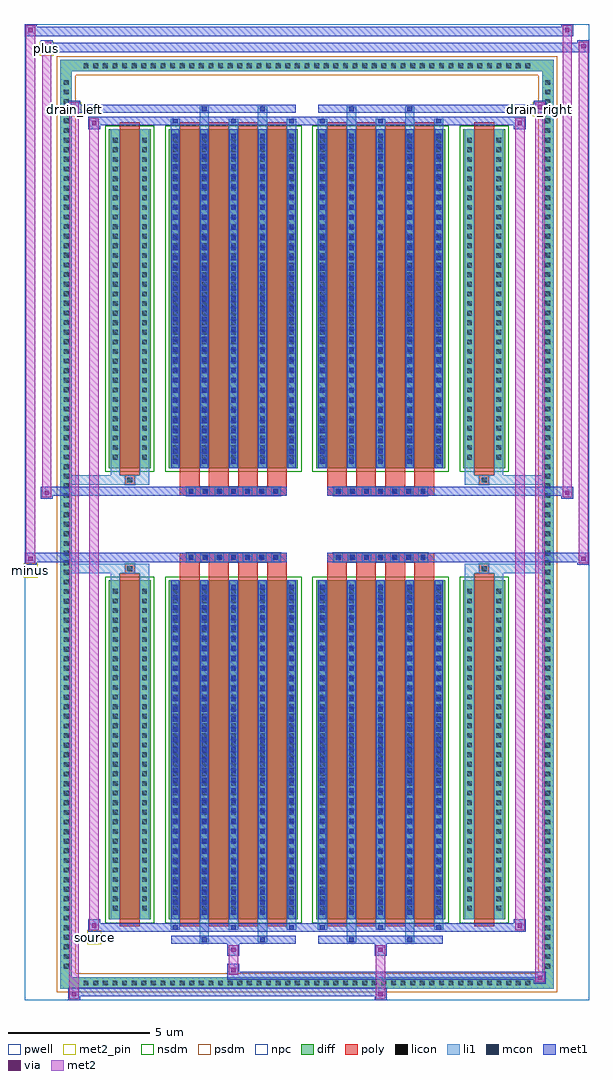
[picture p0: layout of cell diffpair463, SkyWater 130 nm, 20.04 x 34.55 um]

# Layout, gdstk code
import gdstk
lib = gdstk.Library(unit=1e-6, precision=5e-09)
def R(c, l, rs):  # rectangles x0, y0, x1, y1
    for r in rs: c.add(gdstk.rectangle(r[:2], r[2:], *l))
def A(c, l, x, y, w, h, nx, ny, dx, dy):  # array of equal rectangles
    R(c, l, [(x+i*dx, y+j*dy, x+i*dx+w, y+j*dy+h) for i in range(nx) for j in range(ny)])
def P(c, l, *ps):  # polygons
    for p in ps: c.add(gdstk.Polygon(p, *l))
pwell = (64, 44)
diff = (65, 20)
poly = (66, 20)
licon = (66, 44)
li1 = (67, 20)
mcon = (67, 44)
met1 = (68, 20)
via = (68, 44)
met2_pin = (69, 16)
met2 = (69, 20)
nsdm = (93, 44)
psdm = (94, 20)
npc = (95, 20)

diffpair463 = lib.new_cell('diffpair463')
R(diffpair463, pwell, [(-10,-16.84,10,17.71), (-7.32,-15.03,-0.01,-0.805), (0.01,-15.03,7.32,-0.805), (-7.32,0.805,-0.01,15.03), (0.01,0.805,7.32,15.03)])
A(diffpair463, diff, -8.025, -16.44, 0.41, 0.41, 47, 2, 0.34, 32.47)
A(diffpair463, diff, -8.73, -15.845, 0.41, 0.41, 1, 93, 0, 0.34)
A(diffpair463, diff, 8.32, -15.845, 0.41, 0.41, 1, 93, 0, 0.34)
R(diffpair463, diff, [(-8.025,-16.44,8.025,-16.03), (-8.73,-15.845,-8.32,15.845), (8.32,-15.845,8.73,15.845), (-7.01,-13.985,-5.53,-1.985), (-4.89,-13.985,-0.32,-1.985), (0.32,-13.985,4.89,-1.985), (5.53,-13.985,7.01,-1.985), (-7.01,1.985,-5.53,13.985), (-4.89,1.985,-0.32,13.985), (0.32,1.985,4.89,13.985), (5.53,1.985,7.01,13.985), (-8.025,16.03,8.025,16.44)])
P(diffpair463, diff, [(8.73,16.44),(-8.73,16.44),(-8.73,-16.03),(-8.32,-16.03),(-8.32,16.03),(8.32,16.03),(8.32,-16.03),(-8.32,-16.03),(-8.73,-16.03),(-8.73,-16.44),(8.73,-16.44)])
A(diffpair463, poly, -4.5, -14.235, 0.7, 12.5, 4, 2, 1.03, 15.97)
A(diffpair463, poly, 0.71, -14.235, 0.7, 12.5, 4, 2, 1.03, 15.97)
A(diffpair463, poly, -4.5, -1.735, 0.7, 0.4, 4, 2, 1.03, 3.07)
A(diffpair463, poly, 0.71, -1.735, 0.7, 0.4, 4, 2, 1.03, 3.07)
A(diffpair463, poly, -4.27, -1.335, 0.33, 0.33, 7, 2, 0.5, 2.34)
A(diffpair463, poly, 0.94, -1.335, 0.33, 0.33, 7, 2, 0.5, 2.34)
R(diffpair463, poly, [(-6.62,-14.235,-5.92,-1.735), (5.92,-14.235,6.62,-1.735), (-6.435,-1.735,-6.105,-1.405), (-6.435,-1.735,-6.105,-1.405), (6.105,-1.735,6.435,-1.405), (6.105,-1.735,6.435,-1.405), (-4.5,-1.335,-0.71,-1.005), (0.71,-1.335,4.5,-1.005), (-4.5,1.005,-0.71,1.335), (0.71,1.005,4.5,1.335), (-6.435,1.405,-6.105,1.735), (-6.435,1.405,-6.105,1.735), (6.105,1.405,6.435,1.735), (6.105,1.405,6.435,1.735), (-6.62,1.735,-5.92,14.235), (5.92,1.735,6.62,14.235)])
A(diffpair463, licon, -7.905, -16.32, 0.17, 0.17, 47, 2, 0.34, 32.47)
A(diffpair463, licon, -8.61, -15.725, 0.17, 0.17, 1, 93, 0, 0.34)
A(diffpair463, licon, 8.44, -15.725, 0.17, 0.17, 1, 93, 0, 0.34)
A(diffpair463, licon, -6.87, -13.68, 0.17, 0.17, 1, 34, 0, 0.34)
A(diffpair463, licon, -5.84, -13.68, 0.17, 0.17, 1, 34, 0, 0.34)
A(diffpair463, licon, -4.75, -13.68, 0.17, 0.17, 5, 34, 1.03, 0.34)
A(diffpair463, licon, 0.46, -13.68, 0.17, 0.17, 5, 34, 1.03, 0.34)
A(diffpair463, licon, 5.67, -13.68, 0.17, 0.17, 1, 34, 0, 0.34)
A(diffpair463, licon, 6.7, -13.68, 0.17, 0.17, 1, 34, 0, 0.34)
A(diffpair463, licon, -4.19, -1.255, 0.17, 0.17, 7, 2, 0.5, 2.34)
A(diffpair463, licon, 1.02, -1.255, 0.17, 0.17, 7, 2, 0.5, 2.34)
A(diffpair463, licon, -6.87, 2.29, 0.17, 0.17, 1, 34, 0, 0.34)
A(diffpair463, licon, -5.84, 2.29, 0.17, 0.17, 1, 34, 0, 0.34)
A(diffpair463, licon, -4.75, 2.29, 0.17, 0.17, 5, 34, 1.03, 0.34)
A(diffpair463, licon, 0.46, 2.29, 0.17, 0.17, 5, 34, 1.03, 0.34)
A(diffpair463, licon, 5.67, 2.29, 0.17, 0.17, 1, 34, 0, 0.34)
A(diffpair463, licon, 6.7, 2.29, 0.17, 0.17, 1, 34, 0, 0.34)
R(diffpair463, licon, [(-6.355,-1.655,-6.185,-1.485), (6.185,-1.655,6.355,-1.485), (-6.355,1.485,-6.185,1.655), (6.185,1.485,6.355,1.655)])
A(diffpair463, li1, -7.985, -16.4, 0.33, 0.33, 47, 2, 0.34, 32.47)
A(diffpair463, li1, -8.69, -15.805, 0.33, 0.33, 1, 93, 0, 0.34)
A(diffpair463, li1, 8.36, -15.805, 0.33, 0.33, 1, 93, 0, 0.34)
A(diffpair463, li1, -4.83, -14.36, 0.33, 0.375, 3, 2, 2.06, 28.345)
A(diffpair463, li1, -4.75, -14.36, 0.17, 0.17, 3, 2, 2.06, 28.55)
A(diffpair463, li1, 0.38, -14.36, 0.33, 0.375, 3, 2, 2.06, 28.345)
A(diffpair463, li1, 0.46, -14.36, 0.17, 0.17, 3, 2, 2.06, 28.55)
A(diffpair463, li1, -4.83, -13.985, 0.33, 12, 5, 2, 1.03, 15.97)
A(diffpair463, li1, 0.38, -13.985, 0.33, 12, 5, 2, 1.03, 15.97)
A(diffpair463, li1, -4.75, -13.83, 0.17, 0.17, 5, 33, 1.03, 0.36)
A(diffpair463, li1, -4.75, -13.83, 0.17, 11.69, 5, 2, 1.03, 15.97)
A(diffpair463, li1, 0.46, -13.83, 0.17, 0.17, 5, 33, 1.03, 0.36)
A(diffpair463, li1, 0.46, -13.83, 0.17, 11.69, 5, 2, 1.03, 15.97)
A(diffpair463, li1, -6.95, -13.76, 0.33, 0.33, 1, 34, 0, 0.34)
A(diffpair463, li1, -5.92, -13.76, 0.33, 0.33, 1, 34, 0, 0.34)
A(diffpair463, li1, -4.83, -13.76, 0.33, 0.33, 5, 34, 1.03, 0.34)
A(diffpair463, li1, 0.38, -13.76, 0.33, 0.33, 5, 34, 1.03, 0.34)
A(diffpair463, li1, 5.59, -13.76, 0.33, 0.33, 1, 34, 0, 0.34)
A(diffpair463, li1, 6.62, -13.76, 0.33, 0.33, 1, 34, 0, 0.34)
A(diffpair463, li1, -4.27, -1.335, 0.33, 0.33, 7, 2, 0.5, 2.34)
A(diffpair463, li1, 0.94, -1.335, 0.33, 0.33, 7, 2, 0.5, 2.34)
A(diffpair463, li1, -4.75, 2.14, 0.17, 0.17, 5, 33, 1.03, 0.36)
A(diffpair463, li1, 0.46, 2.14, 0.17, 0.17, 5, 33, 1.03, 0.36)
A(diffpair463, li1, -6.95, 2.21, 0.33, 0.33, 1, 34, 0, 0.34)
A(diffpair463, li1, -5.92, 2.21, 0.33, 0.33, 1, 34, 0, 0.34)
A(diffpair463, li1, -4.83, 2.21, 0.33, 0.33, 5, 34, 1.03, 0.34)
A(diffpair463, li1, 0.38, 2.21, 0.33, 0.33, 5, 34, 1.03, 0.34)
A(diffpair463, li1, 5.59, 2.21, 0.33, 0.33, 1, 34, 0, 0.34)
A(diffpair463, li1, 6.62, 2.21, 0.33, 0.33, 1, 34, 0, 0.34)
R(diffpair463, li1, [(-8.73,-16.44,-8.32,-16.03), (-8.73,-16.44,-8.32,-16.03), (-8.32,-16.44,8.32,-16.03), (8.32,-16.44,8.73,-16.03), (8.32,-16.44,8.73,-16.03), (-8.73,-16.03,-8.32,16.03), (8.32,-16.03,8.73,16.03), (-3.8,-14.79,-3.47,-13.985), (-3.72,-14.79,-3.55,-14.62), (-1.74,-14.79,-1.41,-13.985), (-1.66,-14.79,-1.49,-14.62), (1.41,-14.79,1.74,-13.985), (1.49,-14.79,1.66,-14.62), (3.47,-14.79,3.8,-13.985), (3.55,-14.79,3.72,-14.62), (-6.95,-13.985,-6.62,-1.985), (-5.92,-13.985,-5.59,-1.985), (5.59,-13.985,5.92,-1.985), (6.62,-13.985,6.95,-1.985), (-6.95,-1.985,-6.62,-1.405), (-5.92,-1.985,-5.59,-1.405), (5.59,-1.985,5.92,-1.405), (6.62,-1.985,6.95,-1.405), (-8.73,-1.735,-6.435,-1.405), (-6.95,-1.735,-6.435,-1.405), (-6.435,-1.735,-6.105,-1.405), (-6.105,-1.735,-5.59,-1.405), (5.59,-1.735,6.105,-1.405), (6.105,-1.735,6.435,-1.405), (6.105,-1.735,8.73,-1.405), (6.435,-1.735,6.95,-1.405), (-8.73,1.405,-6.435,1.735), (-6.95,1.405,-6.435,1.735), (-6.95,1.405,-6.62,1.985), (-6.435,1.405,-6.105,1.735), (-6.105,1.405,-5.59,1.735), (-5.92,1.405,-5.59,1.985), (5.59,1.405,6.105,1.735), (5.59,1.405,5.92,1.985), (6.105,1.405,6.435,1.735), (6.105,1.405,8.73,1.735), (6.435,1.405,6.95,1.735), (6.62,1.405,6.95,1.985), (-6.95,1.985,-6.62,13.985), (-5.92,1.985,-5.59,13.985), (5.59,1.985,5.92,13.985), (6.62,1.985,6.95,13.985), (-3.8,13.985,-3.47,14.79), (-1.74,13.985,-1.41,14.79), (1.41,13.985,1.74,14.79), (3.47,13.985,3.8,14.79), (-3.72,14.62,-3.55,14.79), (-1.66,14.62,-1.49,14.79), (1.49,14.62,1.66,14.79), (3.55,14.62,3.72,14.79), (-8.73,16.03,-8.32,16.44), (-8.73,16.03,-8.32,16.44), (-8.32,16.03,8.32,16.44), (8.32,16.03,8.73,16.44), (8.32,16.03,8.73,16.44)])
A(diffpair463, mcon, -4.75, -14.36, 0.17, 0.17, 3, 2, 2.06, 28.55)
A(diffpair463, mcon, 0.46, -14.36, 0.17, 0.17, 3, 2, 2.06, 28.55)
A(diffpair463, mcon, -4.75, -13.83, 0.17, 0.17, 5, 33, 1.03, 0.36)
A(diffpair463, mcon, 0.46, -13.83, 0.17, 0.17, 5, 33, 1.03, 0.36)
A(diffpair463, mcon, -4.19, -1.255, 0.17, 0.17, 7, 2, 0.5, 2.34)
A(diffpair463, mcon, 1.02, -1.255, 0.17, 0.17, 7, 2, 0.5, 2.34)
A(diffpair463, mcon, -4.75, 2.14, 0.17, 0.17, 5, 33, 1.03, 0.36)
A(diffpair463, mcon, 0.46, 2.14, 0.17, 0.17, 5, 33, 1.03, 0.36)
R(diffpair463, mcon, [(-3.72,-14.79,-3.55,-14.62), (-1.66,-14.79,-1.49,-14.62), (1.49,-14.79,1.66,-14.62), (3.55,-14.79,3.72,-14.62), (-3.72,14.62,-3.55,14.79), (-1.66,14.62,-1.49,14.79), (1.49,14.62,1.66,14.79), (3.55,14.62,3.72,14.79)])
A(diffpair463, met1, -4.81, -14.42, 0.29, 0.29, 3, 2, 2.06, 28.55)
A(diffpair463, met1, 0.4, -14.42, 0.29, 0.29, 3, 2, 2.06, 28.55)
A(diffpair463, met1, -4.81, -13.985, 0.29, 12, 5, 2, 1.03, 15.97)
A(diffpair463, met1, 0.4, -13.985, 0.29, 12, 5, 2, 1.03, 15.97)
A(diffpair463, met1, -4.81, -13.89, 0.29, 0.29, 5, 33, 1.03, 0.36)
A(diffpair463, met1, 0.4, -13.89, 0.29, 0.29, 5, 33, 1.03, 0.36)
A(diffpair463, met1, -4.25, -1.315, 0.29, 0.29, 7, 2, 0.5, 2.34)
A(diffpair463, met1, 0.96, -1.315, 0.29, 0.29, 7, 2, 0.5, 2.34)
A(diffpair463, met1, -4.81, 2.08, 0.29, 0.29, 5, 33, 1.03, 0.36)
A(diffpair463, met1, 0.4, 2.08, 0.29, 0.29, 5, 33, 1.03, 0.36)
R(diffpair463, met1, [(-8.46,-16.84,-8.03,-16.41), (2.39,-16.84,2.82,-16.41), (-8.46,-16.7,2.82,-16.41), (8.03,-16.27,8.46,-15.84), (-2.82,-16.13,8.46,-15.84), (-2.82,-15.99,-2.39,-15.56), (-2.82,-15.28,-2.39,-14.85), (2.39,-15.28,2.82,-14.85), (-4.81,-14.85,-0.4,-14.56), (-3.78,-14.85,-3.49,-14.56), (-1.72,-14.85,-1.43,-14.56), (0.4,-14.85,4.81,-14.56), (1.43,-14.85,1.72,-14.56), (3.49,-14.85,3.78,-14.56), (-7.75,-14.42,-7.32,-13.99), (-7.75,-14.42,-4.81,-14.13), (-4.81,-14.42,-0.4,-14.13), (-0.4,-14.42,0.4,-14.13), (0.4,-14.42,4.81,-14.13), (4.81,-14.42,7.75,-14.13), (7.32,-14.42,7.75,-13.99), (-10,-1.435,-9.57,-1.005), (9.57,-1.435,10,-1.005), (-10,-1.335,-0.71,-1.005), (-4.5,-1.335,-0.71,-1.005), (0.71,-1.335,4.5,-1.005), (0.71,-1.335,10,-1.005), (-9.43,0.905,-9,1.335), (9,0.905,9.43,1.335), (-9.43,1.005,-4.5,1.335), (-4.5,1.005,-0.71,1.335), (0.71,1.005,4.5,1.335), (4.5,1.005,9.43,1.335), (-7.75,13.99,-7.32,14.42), (7.32,13.99,7.75,14.42), (-7.75,14.13,-4.81,14.42), (-4.81,14.13,-0.4,14.42), (-0.4,14.13,0.4,14.42), (0.4,14.13,4.81,14.42), (4.81,14.13,7.75,14.42), (-8.46,14.56,-8.03,14.99), (-8.46,14.56,-4.81,14.85), (-4.81,14.56,-0.4,14.85), (-3.78,14.56,-3.49,14.85), (-1.72,14.56,-1.43,14.85), (0.4,14.56,4.81,14.85), (1.43,14.56,1.72,14.85), (3.49,14.56,3.78,14.85), (4.81,14.56,8.46,14.85), (8.03,14.56,8.46,14.99), (-9.43,16.71,-9,17.14), (-9.43,16.71,-7.32,17.04), (-7.32,16.71,7.32,17.04), (7.32,16.71,10,17.04), (9.57,16.71,10,17.14), (-10,17.28,-9.57,17.71), (-10,17.28,-7.32,17.61), (-7.32,17.28,7.32,17.61), (7.32,17.28,9.43,17.61), (9,17.28,9.43,17.71)])
R(diffpair463, via, [(-8.32,-16.7,-8.17,-16.55), (2.53,-16.7,2.68,-16.55), (8.17,-16.13,8.32,-15.98), (-2.68,-15.85,-2.53,-15.7), (-2.68,-15.14,-2.53,-14.99), (2.53,-15.14,2.68,-14.99), (-7.61,-14.28,-7.46,-14.13), (7.46,-14.28,7.61,-14.13), (-9.86,-1.295,-9.71,-1.145), (9.71,-1.295,9.86,-1.145), (-9.29,1.045,-9.14,1.195), (9.14,1.045,9.29,1.195), (-7.61,14.13,-7.46,14.28), (7.46,14.13,7.61,14.28), (-8.32,14.7,-8.17,14.85), (8.17,14.7,8.32,14.85), (-9.29,16.85,-9.14,17), (9.71,16.85,9.86,17), (-9.86,17.42,-9.71,17.57), (9.14,17.42,9.29,17.57)])
R(diffpair463, met2_pin, [(-7.785,-14.87,-7.285,-14.37), (-10.035,-1.885,-9.535,-1.385), (-8.495,14.44,-7.995,14.94), (7.995,14.44,8.495,14.94), (-9.465,16.59,-8.965,17.09)])
R(diffpair463, met2, [(-8.41,-16.79,-8.08,-16.46), (-8.41,-16.79,-8.08,14.94), (2.44,-16.79,2.77,-16.46), (2.44,-16.46,2.77,-15.23), (8.08,-16.22,8.41,-15.89), (8.08,-16.22,8.41,14.94), (-2.77,-15.94,-2.44,-15.61), (-2.77,-15.61,-2.44,-15.23), (-2.77,-15.23,-2.44,-14.9), (2.44,-15.23,2.77,-14.9), (-7.7,-14.37,-7.37,-14.04), (-7.7,-14.37,-7.37,14.37), (7.37,-14.37,7.7,-14.04), (7.37,-14.37,7.7,14.37), (-9.95,-1.385,-9.62,-1.055), (-9.95,-1.385,-9.62,17.66), (9.62,-1.385,9.95,-1.055), (9.62,-1.385,9.95,17.09), (-9.38,0.955,-9.05,1.285), (-9.38,0.955,-9.05,17.09), (9.05,0.955,9.38,1.285), (9.05,0.955,9.38,17.66), (-7.7,14.04,-7.37,14.37), (7.37,14.04,7.7,14.37), (-8.41,14.61,-8.08,14.94), (8.08,14.61,8.41,14.94), (-9.38,16.76,-9.05,17.09), (9.62,16.76,9.95,17.09), (-9.95,17.33,-9.62,17.66), (9.05,17.33,9.38,17.66)])
P(diffpair463, met2, [(9.95,-1.385),(9.95,-1.385),(9.95,-1.055),(9.95,-1.055)],
  [(9.95,16.76),(9.95,16.76),(9.95,17.09),(9.95,17.09)],
  [(-9.62,-1.385),(-9.62,-1.385),(-9.62,-1.055),(-9.62,-1.055)],
  [(-9.62,17.33),(-9.62,17.33),(-9.62,17.66),(-9.62,17.66)],
  [(9.38,0.955),(9.38,0.955),(9.38,1.285),(9.38,1.285)],
  [(9.38,17.33),(9.38,17.33),(9.38,17.66),(9.38,17.66)],
  [(-9.05,0.955),(-9.05,0.955),(-9.05,1.285),(-9.05,1.285)],
  [(-9.05,16.76),(-9.05,16.76),(-9.05,17.09),(-9.05,17.09)],
  [(-8.08,-16.79),(-8.08,-16.79),(-8.08,-16.46),(-8.08,-16.46)],
  [(-8.08,14.61),(-8.08,14.61),(-8.08,14.94),(-8.08,14.94)],
  [(8.41,-16.22),(8.41,-16.22),(8.41,-15.89),(8.41,-15.89)],
  [(8.41,14.61),(8.41,14.61),(8.41,14.94),(8.41,14.94)],
  [(-7.37,-14.37),(-7.37,-14.37),(-7.37,-14.04),(-7.37,-14.04)],
  [(-7.37,14.04),(-7.37,14.04),(-7.37,14.37),(-7.37,14.37)],
  [(7.7,-14.37),(7.7,-14.37),(7.7,-14.04),(7.7,-14.04)],
  [(7.7,14.04),(7.7,14.04),(7.7,14.37),(7.7,14.37)])
R(diffpair463, nsdm, [(-7.14,-14.115,-5.4,-1.855), (-5.02,-14.115,-0.19,-1.855), (0.19,-14.115,5.02,-1.855), (5.4,-14.115,7.14,-1.855), (-7.14,1.855,-5.4,14.115), (-5.02,1.855,-0.19,14.115), (0.19,1.855,5.02,14.115), (5.4,1.855,7.14,14.115)])
P(diffpair463, psdm, [(8.86,16.57),(-8.86,16.57),(-8.86,-15.9),(-8.19,-15.9),(-8.19,15.9),(8.19,15.9),(8.19,-15.9),(-8.19,-15.9),(-8.86,-15.9),(-8.86,-16.57),(8.86,-16.57)])
A(diffpair463, npc, -4.29, -1.355, 0.37, 0.37, 7, 2, 0.5, 2.34)
A(diffpair463, npc, 0.92, -1.355, 0.37, 0.37, 7, 2, 0.5, 2.34)
R(diffpair463, npc, [(-6.455,-1.755,-6.085,-1.385), (6.085,-1.755,6.455,-1.385), (-4.29,-1.355,-3.42,-0.985), (-4.29,-1.355,-3.42,-0.985), (-3.79,-1.355,-2.92,-0.985), (-3.79,-1.355,-2.92,-0.985), (-3.29,-1.355,-2.42,-0.985), (-3.29,-1.355,-2.42,-0.985), (-2.79,-1.355,-1.92,-0.985), (-2.79,-1.355,-1.92,-0.985), (-2.29,-1.355,-1.42,-0.985), (-2.29,-1.355,-1.42,-0.985), (-1.79,-1.355,-0.92,-0.985), (-1.79,-1.355,-0.92,-0.985), (0.92,-1.355,1.79,-0.985), (0.92,-1.355,1.79,-0.985), (1.42,-1.355,2.29,-0.985), (1.42,-1.355,2.29,-0.985), (1.92,-1.355,2.79,-0.985), (1.92,-1.355,2.79,-0.985), (2.42,-1.355,3.29,-0.985), (2.42,-1.355,3.29,-0.985), (2.92,-1.355,3.79,-0.985), (2.92,-1.355,3.79,-0.985), (3.42,-1.355,4.29,-0.985), (3.42,-1.355,4.29,-0.985), (-4.29,0.985,-3.42,1.355), (-4.29,0.985,-3.42,1.355), (-3.79,0.985,-2.92,1.355), (-3.79,0.985,-2.92,1.355), (-3.29,0.985,-2.42,1.355), (-3.29,0.985,-2.42,1.355), (-2.79,0.985,-1.92,1.355), (-2.79,0.985,-1.92,1.355), (-2.29,0.985,-1.42,1.355), (-2.29,0.985,-1.42,1.355), (-1.79,0.985,-0.92,1.355), (-1.79,0.985,-0.92,1.355), (0.92,0.985,1.79,1.355), (0.92,0.985,1.79,1.355), (1.42,0.985,2.29,1.355), (1.42,0.985,2.29,1.355), (1.92,0.985,2.79,1.355), (1.92,0.985,2.79,1.355), (2.42,0.985,3.29,1.355), (2.42,0.985,3.29,1.355), (2.92,0.985,3.79,1.355), (2.92,0.985,3.79,1.355), (3.42,0.985,4.29,1.355), (3.42,0.985,4.29,1.355), (-6.455,1.385,-6.085,1.755), (6.085,1.385,6.455,1.755)])
diffpair463.add(gdstk.Label('minus', (-9.785,-1.635), layer=69, texttype=5))
diffpair463.add(gdstk.Label('drain_right', (8.245,14.69), layer=69, texttype=5))
diffpair463.add(gdstk.Label('drain_left', (-8.245,14.69), layer=69, texttype=5))
diffpair463.add(gdstk.Label('source', (-7.535,-14.62), layer=69, texttype=5))
diffpair463.add(gdstk.Label('plus', (-9.215,16.84), layer=69, texttype=5))

lib.write_gds('diffpair463.gds')
